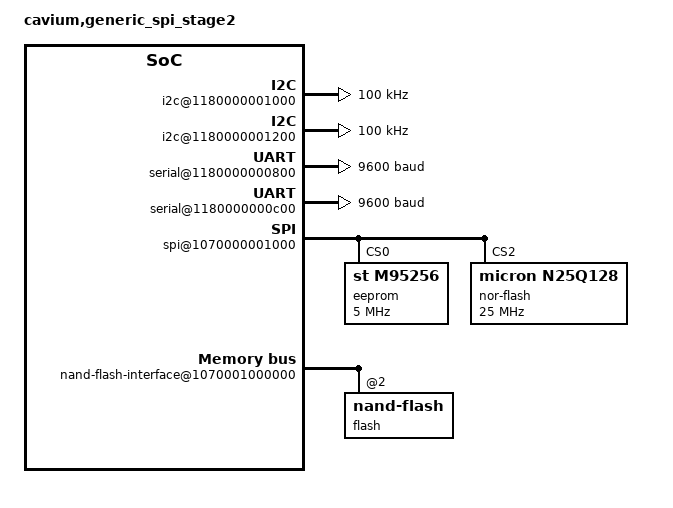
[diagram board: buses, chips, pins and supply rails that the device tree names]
/dts-v1/;

/ {
	model = "cavium,generic_spi_stage2";
	compatible = "cavium,generic_spi_stage2";
	#address-cells = <0x02>;
	#size-cells = <0x02>;
	interrupt-parent = <0x01>;

	soc@0 {
		compatible = "simple-bus";
		#address-cells = <0x02>;
		#size-cells = <0x02>;
		ranges;

		interrupt-controller@1070000000000 {
			compatible = "cavium,octeon-3860-ciu";
			interrupt-controller;
			#interrupt-cells = <0x02>;
			reg = <0x10700 0x00 0x00 0x7000>;
			linux,phandle = <0x01>;
			phandle = <0x01>;
		};

		gpio-controller@1070000000800 {
			#gpio-cells = <0x02>;
			compatible = "cavium,octeon-3860-gpio";
			reg = <0x10700 0x800 0x00 0x100>;
			gpio-controller;
			interrupt-controller;
			#interrupt-cells = <0x02>;
			interrupts = <0x00 0x10>;
		};

		i2c@1180000001000 {
			#address-cells = <0x01>;
			#size-cells = <0x00>;
			compatible = "cavium,octeon-3860-twsi";
			reg = <0x11800 0x1000 0x00 0x200>;
			interrupts = <0x00 0x2d>;
			clock-frequency = <0x186a0>;
		};

		i2c@1180000001200 {
			#address-cells = <0x01>;
			#size-cells = <0x00>;
			compatible = "cavium,octeon-3860-twsi";
			reg = <0x11800 0x1200 0x00 0x200>;
			interrupts = <0x00 0x3b>;
			clock-frequency = <0x186a0>;
		};

		serial@1180000000800 {
			compatible = "cavium,octeon-3860-uart", "ns16550";
			reg = <0x11800 0x800 0x00 0x400>;
			clock-frequency = <0x00>;
			#current-speed = <0x1c200>;
			current-speed = <0x2580>;
			reg-shift = <0x03>;
			interrupts = <0x00 0x22>;
		};

		serial@1180000000c00 {
			compatible = "cavium,octeon-3860-uart", "ns16550";
			reg = <0x11800 0xc00 0x00 0x400>;
			clock-frequency = <0x00>;
			#current-speed = <0x1c200>;
			current-speed = <0x2580>;
			reg-shift = <0x03>;
			interrupts = <0x00 0x23>;
		};

		spi@1070000001000 {
			compatible = "cavium,octeon-3010-spi";
			reg = <0x10700 0x1000 0x00 0x100>;
			interrupts = <0x00 0x3a>;
			#address-cells = <0x01>;
			#size-cells = <0x00>;

			eeprom@0 {
				compatible = "st,m95256", "atmel,at25";
				reg = <0x00>;
				spi-max-frequency = <0x4c4b40>;
				spi-cpha;
				spi-cpol;
				pagesize = <0x40>;
				size = <0x8000>;
				address-width = <0x10>;
				cavium,qlm-trim = "9,eeprom";
			};

			nor-flash@2 {
				compatible = "micron,n25q128";
				reg = <0x02>;
				spi-max-frequency = <0x17d7840>;
				spi-cpha;
				spi-cpol;
				pagesize = <0x100>;
				size = <0x1000000>;
				address-width = <0x18>;
			};
		};

		nand-flash-interface@1070001000000 {
			compatible = "cavium,octeon-5230-nand";
			reg = <0x10700 0x1000000 0x00 0x100 0x11800 0x168 0x00 0x20>;
			#address-cells = <0x01>;
			#size-cells = <0x00>;
			interrupts = <0x00 0x3f>;

			flash@2 {
				compatible = "nand-flash";
				reg = <0x02>;
				nand-ecc-mode = "hw_syndrome";
				nand-ecc-size = <0x400>;
				nand-ecc-bytes = <0x2a>;
				nand-bus-width = <0x08>;
			};
		};

		dma-engine@1180000000100 {
			compatible = "cavium,octeon-5750-bootbus-dma";
			reg = <0x11800 0x100 0x00 0x08>;
			interrupts = <0x00 0x3f>;
		};

		dma-engine@1180000000108 {
			compatible = "cavium,octeon-5750-bootbus-dma";
			reg = <0x11800 0x108 0x00 0x08>;
			interrupts = <0x00 0x3f>;
		};
	};

	aliases {
		twsi0 = "/soc@0/i2c@1180000001000";
		twsi1 = "/soc@0/i2c@1180000001200";
		uart0 = "/soc@0/serial@1180000000800";
		uart1 = "/soc@0/serial@1180000000c00";
	};
};
